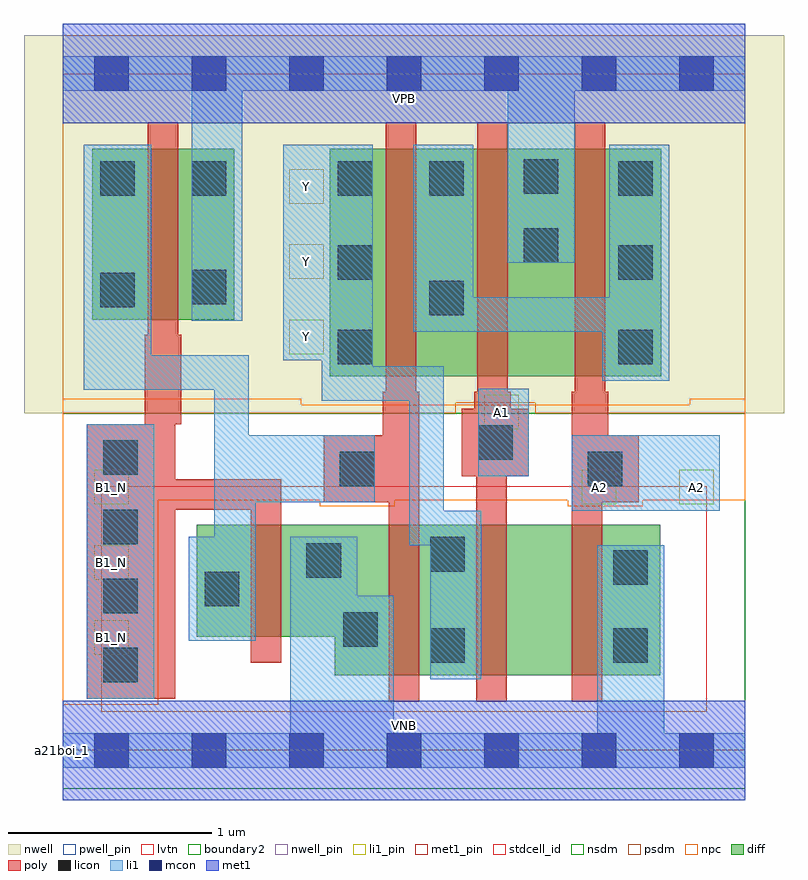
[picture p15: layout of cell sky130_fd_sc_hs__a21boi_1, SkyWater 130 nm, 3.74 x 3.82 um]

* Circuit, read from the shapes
.subckt sky130_fd_sc_hs__a21boi_1 A1 A2 B1_N VGND VNB VPB VPWR Y
XM1 VGND B1_N n1 VNB sky130_fd_pr__nfet_01v8_lvt w=0.55 l=0.15
XM2 Y n1 VGND VNB sky130_fd_pr__nfet_01v8_lvt w=0.74 l=0.15
XM3 n2 A1 Y VNB sky130_fd_pr__nfet_01v8_lvt w=0.74 l=0.15
XM4 VGND A2 n2 VNB sky130_fd_pr__nfet_01v8_lvt w=0.74 l=0.15
XM5 VPWR B1_N n1 VPB sky130_fd_pr__pfet_01v8 w=0.84 l=0.15
XM6 n3 n1 Y VPB sky130_fd_pr__pfet_01v8 w=1.12 l=0.15
XM7 VPWR A1 n3 VPB sky130_fd_pr__pfet_01v8 w=1.12 l=0.15
XM8 n3 A2 VPWR VPB sky130_fd_pr__pfet_01v8 w=1.12 l=0.15
.ends

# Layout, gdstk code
import gdstk
lib = gdstk.Library(unit=1e-6, precision=1e-09)
def R(c, l, rs):  # rectangles x0, y0, x1, y1
    for r in rs: c.add(gdstk.rectangle(r[:2], r[2:], *l))
def A(c, l, x, y, w, h, nx, ny, dx, dy):  # array of equal rectangles
    R(c, l, [(x+i*dx, y+j*dy, x+i*dx+w, y+j*dy+h) for i in range(nx) for j in range(ny)])
def P(c, l, *ps):  # polygons
    for p in ps: c.add(gdstk.Polygon(p, *l))
nwell_pin = (64, 16)
nwell = (64, 20)
diff = (65, 20)
poly = (66, 20)
licon = (66, 44)
li1_pin = (67, 16)
li1 = (67, 20)
mcon = (67, 44)
met1_pin = (68, 16)
met1 = (68, 20)
stdcell_id = (81, 4)
nsdm = (93, 44)
psdm = (94, 20)
npc = (95, 20)
pwell_pin = (122, 16)
lvtn = (125, 44)
boundary2 = (236, 0)

sky130_fd_sc_hs__a21boi_ = lib.new_cell('sky130_fd_sc_hs__a21boi_1')
R(sky130_fd_sc_hs__a21boi_, nwell_pin, [(0,3.085,3.36,3.33)])
R(sky130_fd_sc_hs__a21boi_, nwell, [(-0.19,1.66,3.55,3.52)])
R(sky130_fd_sc_hs__a21boi_, diff, [(1.315,1.84,2.945,2.96), (0.145,2.12,0.845,2.96)])
P(sky130_fd_sc_hs__a21boi_, diff, [(2.94,1.11),(0.66,1.11),(0.66,0.56),(1.34,0.56),(1.34,0.37),(2.94,0.37)])
P(sky130_fd_sc_hs__a21boi_, poly, [(2.835,1.55),(2.685,1.55),(2.685,1.765),(2.67,1.765),(2.67,3.09),(2.52,3.09),(2.52,1.765),(2.505,1.765),(2.505,0.24),(2.655,0.24),(2.655,1.22),(2.835,1.22)],
  [(2.295,1.68),(2.205,1.68),(2.205,1.765),(2.19,1.765),(2.19,3.09),(2.04,3.09),(2.04,1.765),(2.025,1.765),(2.025,1.68),(1.965,1.68),(1.965,1.35),(2.035,1.35),(2.035,0.24),(2.185,0.24),(2.185,1.35),(2.295,1.35)],
  [(1.755,1.765),(1.74,1.765),(1.74,3.09),(1.59,3.09),(1.59,1.765),(1.575,1.765),(1.575,1.55),(1.285,1.55),(1.285,1.22),(1.605,1.22),(1.605,0.24),(1.755,0.24)],
  [(1.075,1.335),(0.555,1.335),(0.555,1.605),(0.585,1.605),(0.585,2.045),(0.57,2.045),(0.57,3.09),(0.42,3.09),(0.42,2.045),(0.405,2.045),(0.405,1.605),(0.12,1.605),(0.12,0.255),(0.555,0.255),(0.555,1.185),(0.925,1.185),(0.925,0.43),(1.075,0.43)])
A(sky130_fd_sc_hs__a21boi_, licon, 0.2, 0.335, 0.17, 0.17, 1, 4, 0, 0.34)
A(sky130_fd_sc_hs__a21boi_, licon, 1.355, 1.9, 0.17, 0.17, 1, 3, 0, 0.415)
A(sky130_fd_sc_hs__a21boi_, licon, 2.735, 1.9, 0.17, 0.17, 1, 3, 0, 0.415)
R(sky130_fd_sc_hs__a21boi_, licon, [(1.81,0.43,1.98,0.6), (2.71,0.43,2.88,0.6), (1.38,0.51,1.55,0.68), (0.7,0.71,0.87,0.88), (2.71,0.815,2.88,0.985), (1.2,0.85,1.37,1.02), (1.81,0.88,1.98,1.05), (1.365,1.3,1.535,1.47), (2.585,1.3,2.755,1.47), (2.045,1.43,2.215,1.6), (1.805,2.14,1.975,2.31), (0.185,2.18,0.355,2.35), (0.635,2.195,0.805,2.365), (2.27,2.4,2.44,2.57), (0.185,2.73,0.355,2.9), (0.635,2.73,0.805,2.9), (1.805,2.73,1.975,2.9), (2.27,2.74,2.44,2.91)])
A(sky130_fd_sc_hs__a21boi_, li1_pin, 0.155, 0.47, 0.17, 0.17, 1, 3, 0, 0.37)
A(sky130_fd_sc_hs__a21boi_, li1_pin, 1.115, 1.95, 0.17, 0.17, 1, 3, 0, 0.37)
R(sky130_fd_sc_hs__a21boi_, li1_pin, [(2.555,1.21,2.725,1.38), (3.035,1.21,3.205,1.38), (2.075,1.58,2.245,1.75)])
R(sky130_fd_sc_hs__a21boi_, li1, [(0.12,0.255,0.45,1.605), (2.505,1.18,3.235,1.55), (2.045,1.35,2.295,1.78)])
P(sky130_fd_sc_hs__a21boi_, li1, [(1.275,1.72),(1.275,1.92),(1.085,1.92),(1.085,2.98),(1.525,2.98),(1.525,1.89),(1.875,1.89),(1.875,1.18),(2.06,1.18),(2.06,0.35),(1.81,0.35),(1.81,1.01),(1.705,1.01),(1.705,1.72)],
  [(0.635,2.115),(0.635,3.245),(0,3.245),(0,3.415),(3.36,3.415),(3.36,3.245),(2.52,3.245),(2.52,2.4),(2.19,2.4),(2.19,3.245),(0.885,3.245),(0.885,2.115)],
  [(0.915,1.55),(1.535,1.55),(1.535,1.22),(0.95,1.22),(0.95,0.54),(0.62,0.54),(0.62,1.05),(0.745,1.05),(0.745,1.775),(0.105,1.775),(0.105,2.98),(0.435,2.98),(0.435,1.945),(0.915,1.945)],
  [(2.655,1.82),(2.655,2.06),(1.725,2.06),(1.725,2.98),(2.02,2.98),(2.02,2.23),(2.69,2.23),(2.69,2.98),(2.985,2.98),(2.985,1.82)],
  [(3.36,0.085),(2.96,0.085),(2.96,1.01),(2.63,1.01),(2.63,0.085),(1.63,0.085),(1.63,0.76),(1.45,0.76),(1.45,1.05),(1.12,1.05),(1.12,0.085),(0,0.085),(0,-0.085),(3.36,-0.085)])
A(sky130_fd_sc_hs__a21boi_, mcon, 0.155, -0.085, 0.17, 0.17, 7, 2, 0.48, 3.33)
R(sky130_fd_sc_hs__a21boi_, met1_pin, [(0,0,3.36,0.245), (0,3.085,3.36,3.33)])
R(sky130_fd_sc_hs__a21boi_, met1, [(0,-0.245,3.36,0.245), (0,3.085,3.36,3.575)])
R(sky130_fd_sc_hs__a21boi_, stdcell_id, [(0,0,3.36,3.33)])
R(sky130_fd_sc_hs__a21boi_, nsdm, [(0,-0.19,3.36,1.66)])
P(sky130_fd_sc_hs__a21boi_, psdm, [(3.36,3.52),(0,3.52),(0,1.66),(1.935,1.66),(1.935,1.71),(2.325,1.71),(2.325,1.66),(3.36,1.66)])
P(sky130_fd_sc_hs__a21boi_, npc, [(3.36,1.73),(3.085,1.73),(3.085,1.7),(1.175,1.7),(1.175,1.73),(0,1.73),(0,0.225),(0.47,0.225),(0.47,1.23),(1.265,1.23),(1.265,1.2),(1.635,1.2),(1.635,1.23),(2.485,1.23),(2.485,1.2),(2.855,1.2),(2.855,1.23),(3.36,1.23)])
R(sky130_fd_sc_hs__a21boi_, pwell_pin, [(0,0,3.36,0.245)])
R(sky130_fd_sc_hs__a21boi_, lvtn, [(0.19,0.19,3.17,1.3)])
R(sky130_fd_sc_hs__a21boi_, boundary2, [(0,0,3.36,3.33)])
sky130_fd_sc_hs__a21boi_.add(gdstk.Label('a21boi_1', (0,0), layer=83, texttype=44))
sky130_fd_sc_hs__a21boi_.add(gdstk.Label('VNB', (1.68,0.123), layer=64, texttype=59))
sky130_fd_sc_hs__a21boi_.add(gdstk.Label('VPB', (1.68,3.208), layer=64, texttype=5))
sky130_fd_sc_hs__a21boi_.add(gdstk.Label('VPWR', (1.68,3.208), layer=68, texttype=5))
sky130_fd_sc_hs__a21boi_.add(gdstk.Label('VGND', (1.68,0.123), layer=68, texttype=5))
sky130_fd_sc_hs__a21boi_.add(gdstk.Label('B1_N', (0.24,0.555), layer=67, texttype=5))
sky130_fd_sc_hs__a21boi_.add(gdstk.Label('B1_N', (0.24,0.925), layer=67, texttype=5))
sky130_fd_sc_hs__a21boi_.add(gdstk.Label('B1_N', (0.24,1.295), layer=67, texttype=5))
sky130_fd_sc_hs__a21boi_.add(gdstk.Label('Y', (1.2,2.035), layer=67, texttype=5))
sky130_fd_sc_hs__a21boi_.add(gdstk.Label('Y', (1.2,2.405), layer=67, texttype=5))
sky130_fd_sc_hs__a21boi_.add(gdstk.Label('Y', (1.2,2.775), layer=67, texttype=5))
sky130_fd_sc_hs__a21boi_.add(gdstk.Label('A2', (2.64,1.295), layer=67, texttype=5))
sky130_fd_sc_hs__a21boi_.add(gdstk.Label('A2', (3.12,1.295), layer=67, texttype=5))
sky130_fd_sc_hs__a21boi_.add(gdstk.Label('A1', (2.16,1.665), layer=67, texttype=5))

lib.write_gds('sky130_fd_sc_hs__a21boi_1.gds')
